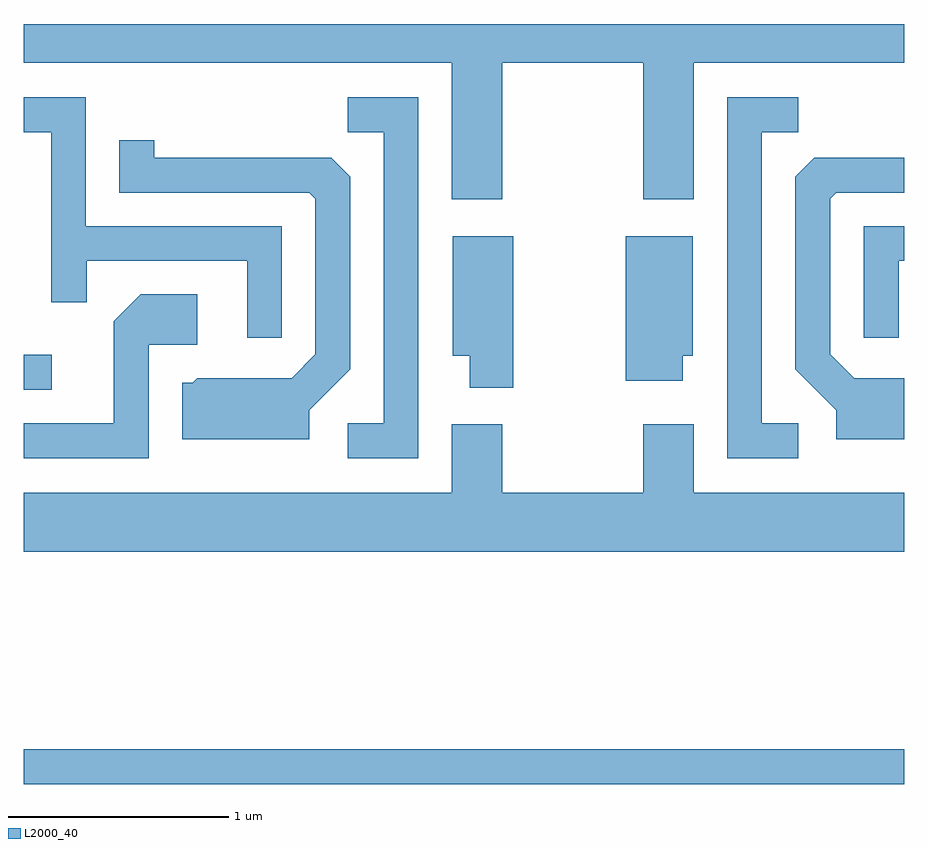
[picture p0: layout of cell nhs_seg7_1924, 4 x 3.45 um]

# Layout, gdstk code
import gdstk
lib = gdstk.Library(unit=1e-6, precision=1e-09)
def R(c, l, rs):  # rectangles x0, y0, x1, y1
    for r in rs: c.add(gdstk.rectangle(r[:2], r[2:], *l))
def P(c, l, *ps):  # polygons
    for p in ps: c.add(gdstk.Polygon(p, *l))
L2000_40 = (2000, 40)

nhs_seg7_1924 = lib.new_cell('nhs_seg7_1924')
R(nhs_seg7_1924, L2000_40, [(243.611,1728.801,247.611,1728.959), (243.611,1730.591,243.738,1730.749)])
P(nhs_seg7_1924, L2000_40, [(245.784,1732.076),(246.426,1732.076),(246.426,1731.456),(246.654,1731.456),(246.654,1732.076),(247.611,1732.076),(247.611,1732.252),(243.611,1732.252),(243.611,1732.076),(245.556,1732.076),(245.556,1731.456),(245.784,1731.456)],
  [(244.784,1731.334),(243.894,1731.334),(243.894,1731.919),(243.611,1731.919),(243.611,1731.761),(243.736,1731.761),(243.736,1730.988),(243.899,1730.988),(243.899,1731.176),(244.626,1731.176),(244.626,1730.828),(244.784,1730.828)],
  [(245.404,1731.919),(245.083,1731.919),(245.083,1731.761),(245.246,1731.761),(245.246,1730.439),(245.083,1730.439),(245.083,1730.281),(245.404,1730.281)],
  [(247.128,1730.439),(246.964,1730.439),(246.964,1731.761),(247.128,1731.761),(247.128,1731.919),(246.806,1731.919),(246.806,1730.281),(247.128,1730.281)],
  [(244.909,1730.499),(245.094,1730.684),(245.094,1731.559),(245.009,1731.644),(244.204,1731.644),(244.204,1731.723),(244.046,1731.723),(244.046,1731.486),(244.909,1731.486),(244.936,1731.459),(244.936,1730.752),(244.829,1730.644),(244.399,1730.644),(244.379,1730.624),(244.331,1730.624),(244.331,1730.366),(244.909,1730.366)],
  [(247.611,1730.644),(247.382,1730.644),(247.274,1730.752),(247.274,1731.459),(247.302,1731.486),(247.611,1731.486),(247.611,1731.644),(247.202,1731.644),(247.116,1731.559),(247.116,1730.684),(247.301,1730.499),(247.301,1730.366),(247.611,1730.366)],
  [(247.584,1731.176),(247.611,1731.176),(247.611,1731.334),(247.426,1731.334),(247.426,1730.828),(247.584,1730.828)],
  [(245.834,1731.289),(245.561,1731.289),(245.561,1730.746),(245.636,1730.746),(245.636,1730.601),(245.834,1730.601)],
  [(246.604,1730.746),(246.649,1730.746),(246.649,1731.289),(246.346,1731.289),(246.346,1730.631),(246.604,1730.631)],
  [(244.179,1730.796),(244.399,1730.796),(244.399,1731.024),(244.144,1731.024),(244.021,1730.902),(244.021,1730.439),(243.611,1730.439),(243.611,1730.281),(244.179,1730.281)],
  [(247.611,1730.124),(246.654,1730.124),(246.654,1730.434),(246.426,1730.434),(246.426,1730.124),(245.784,1730.124),(245.784,1730.434),(245.556,1730.434),(245.556,1730.124),(243.611,1730.124),(243.611,1729.856),(247.611,1729.856)])

lib.write_gds('nhs_seg7_1924.gds')
